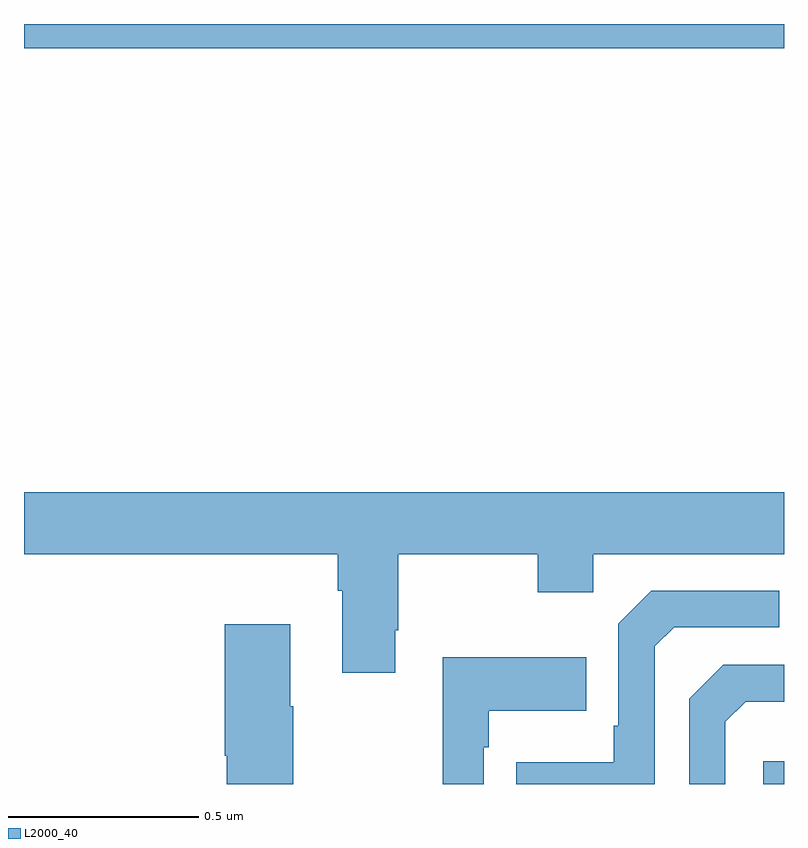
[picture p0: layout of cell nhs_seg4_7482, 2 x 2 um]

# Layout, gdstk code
import gdstk
lib = gdstk.Library(unit=1e-6, precision=1e-09)
def R(c, l, rs):  # rectangles x0, y0, x1, y1
    for r in rs: c.add(gdstk.rectangle(r[:2], r[2:], *l))
def P(c, l, *ps):  # polygons
    for p in ps: c.add(gdstk.Polygon(p, *l))
L2000_40 = (2000, 40)

nhs_seg4_7482 = lib.new_cell('nhs_seg4_7482')
R(nhs_seg4_7482, L2000_40, [(204.945,778.9,205,778.96), (203,780.836,205,780.9)])
P(nhs_seg4_7482, L2000_40, [(203.977,779.305),(203.985,779.305),(203.985,779.504),(204.352,779.504),(204.352,779.405),(204.498,779.405),(204.498,779.504),(205,779.504),(205,779.668),(203,779.668),(203,779.504),(203.825,779.504),(203.825,779.408),(203.837,779.408),(203.837,779.193),(203.977,779.193)],
  [(204.66,779.262),(204.711,779.313),(204.988,779.313),(204.988,779.409),(204.651,779.409),(204.564,779.322),(204.564,779.053),(204.552,779.053),(204.552,778.957),(204.295,778.957),(204.295,778.9),(204.66,778.9)],
  [(203.709,779.105),(203.701,779.105),(203.701,779.32),(203.528,779.32),(203.528,778.974),(203.534,778.974),(203.534,778.9),(203.709,778.9)],
  [(204.21,778.997),(204.223,778.997),(204.223,779.093),(204.479,779.093),(204.479,779.233),(204.102,779.233),(204.102,778.9),(204.21,778.9)],
  [(204.846,779.064),(204.899,779.117),(205,779.117),(205,779.214),(204.84,779.214),(204.75,779.124),(204.75,778.9),(204.846,778.9)])

lib.write_gds('nhs_seg4_7482.gds')
